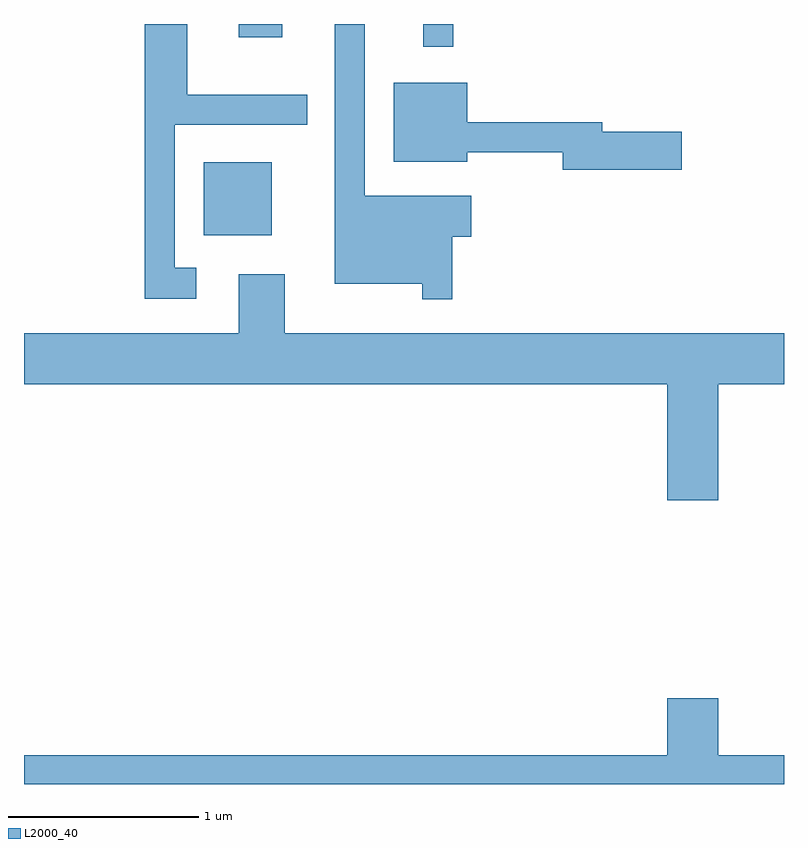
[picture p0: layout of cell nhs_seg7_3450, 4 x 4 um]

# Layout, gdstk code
import gdstk
lib = gdstk.Library(unit=1e-6, precision=1e-09)
def R(c, l, rs):  # rectangles x0, y0, x1, y1
    for r in rs: c.add(gdstk.rectangle(r[:2], r[2:], *l))
def P(c, l, *ps):  # polygons
    for p in ps: c.add(gdstk.Polygon(p, *l))
L2000_40 = (2000, 40)

nhs_seg7_3450 = lib.new_cell('nhs_seg7_3450')
R(nhs_seg7_3450, L2000_40, [(292.556,1675.141,292.914,1675.524), (293.711,1676.133,293.869,1676.252), (292.741,1676.181,292.969,1676.252)])
P(nhs_seg7_3450, L2000_40, [(293.864,1675.131),(293.964,1675.131),(293.964,1675.349),(293.404,1675.349),(293.404,1676.252),(293.246,1676.252),(293.246,1674.886),(293.706,1674.886),(293.706,1674.803),(293.864,1674.803)],
  [(292.518,1674.969),(292.404,1674.969),(292.404,1675.721),(293.103,1675.721),(293.103,1675.879),(292.469,1675.879),(292.469,1676.252),(292.246,1676.252),(292.246,1674.806),(292.518,1674.806)],
  [(295.074,1675.684),(294.654,1675.684),(294.654,1675.734),(293.944,1675.734),(293.944,1675.944),(293.556,1675.944),(293.556,1675.526),(293.944,1675.526),(293.944,1675.576),(294.446,1675.576),(294.446,1675.486),(295.074,1675.486)],
  [(295.264,1674.356),(295.611,1674.356),(295.611,1674.624),(292.984,1674.624),(292.984,1674.934),(292.741,1674.934),(292.741,1674.624),(291.611,1674.624),(291.611,1674.356),(294.996,1674.356),(294.996,1673.746),(295.264,1673.746)],
  [(295.611,1672.404),(295.264,1672.404),(295.264,1672.704),(294.996,1672.704),(294.996,1672.404),(291.611,1672.404),(291.611,1672.252),(295.611,1672.252)])

lib.write_gds('nhs_seg7_3450.gds')
